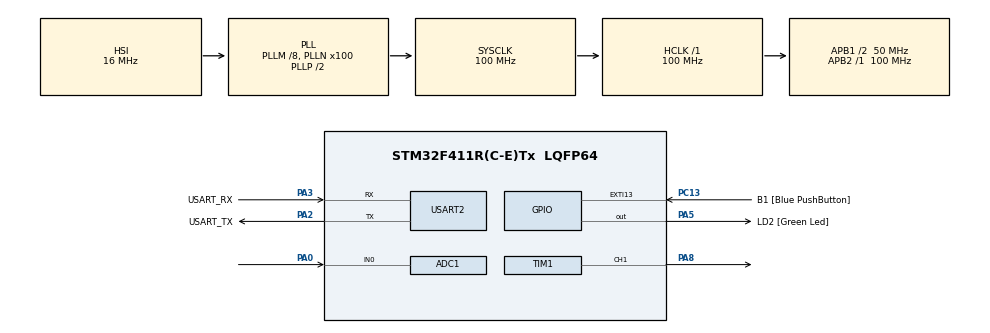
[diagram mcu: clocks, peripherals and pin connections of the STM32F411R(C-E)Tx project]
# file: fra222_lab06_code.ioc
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ADC1.Channel-0\#ChannelRegularConversion=ADC_CHANNEL_0
ADC1.ExternalTrigConv=ADC_EXTERNALTRIGCONV_T3_TRGO
ADC1.NbrOfConversionFlag=1
ADC1.Rank-0\#ChannelRegularConversion=1
ADC1.SamplingTime-0\#ChannelRegularConversion=ADC_SAMPLETIME_15CYCLES
ADC1.master=1
Mcu.Family=STM32F4
Mcu.Name=STM32F411R(C-E)Tx
Mcu.Package=LQFP64
NVIC.ADC_IRQn=true\:0\:0\:false\:false\:true\:true\:true
NVIC.PriorityGroup=NVIC_PRIORITYGROUP_0
NVIC.TIM1_TRG_COM_TIM11_IRQn=true\:0\:0\:false\:false\:true\:true\:true
PA0-WKUP.Signal=ADCx_IN0
PA13.GPIO_Label=TMS
PA13.Mode=Serial_Wire
PA13.Signal=SYS_JTMS-SWDIO
PA14.GPIO_Label=TCK
PA14.Mode=Serial_Wire
PA14.Signal=SYS_JTCK-SWCLK
PA2.GPIO_Label=USART_TX
PA2.Mode=Asynchronous
PA2.Signal=USART2_TX
PA3.GPIO_Label=USART_RX
PA3.Mode=Asynchronous
PA3.Signal=USART2_RX
PA5.GPIO_Label=LD2 [Green Led]
PA5.Signal=GPIO_Output
PA8.Signal=S_TIM1_CH1
PB3.GPIO_Label=SWO
PB3.Signal=SYS_JTDO-SWO
PC13-ANTI_TAMP.GPIO_Label=B1 [Blue PushButton]
PC13-ANTI_TAMP.GPIO_ModeDefaultEXTI=GPIO_MODE_IT_FALLING
PC13-ANTI_TAMP.Signal=GPXTI13
PC14-OSC32_IN.Mode=LSE-External-Oscillator
PC14-OSC32_IN.Signal=RCC_OSC32_IN
PC15-OSC32_OUT.Mode=LSE-External-Oscillator
PC15-OSC32_OUT.Signal=RCC_OSC32_OUT
PH0\ -\ OSC_IN.Mode=HSE-External-Clock-Source
PH0\ -\ OSC_IN.Signal=RCC_OSC_IN
PH1\ -\ OSC_OUT.Mode=HSE-External-Clock-Source
PH1\ -\ OSC_OUT.Signal=RCC_OSC_OUT
ProjectManager.HeapSize=0x200
ProjectManager.StackSize=0x400
ProjectManager.TargetToolchain=STM32CubeIDE
RCC.48MHZClocksFreq_Value=50000000
RCC.AHBFreq_Value=100000000
RCC.APB1CLKDivider=RCC_HCLK_DIV2
RCC.APB1Freq_Value=50000000
RCC.APB1TimFreq_Value=100000000
RCC.APB2Freq_Value=100000000
RCC.APB2TimFreq_Value=100000000
RCC.CortexFreq_Value=100000000
RCC.FLatency-AdvancedSettings=FLASH_LATENCY_3
RCC.HCLKFreq_Value=100000000
RCC.HSE_VALUE=8000000
RCC.HSI_VALUE=16000000
RCC.PLLM=8
RCC.PLLN=100
RCC.SYSCLKFreq_VALUE=100000000
RCC.SYSCLKSource=RCC_SYSCLKSOURCE_PLLCLK
RCC.VCOOutputFreq_Value=200000000
SH.ADCx_IN0.0=ADC1_IN0,IN0
SH.S_TIM1_CH1.0=TIM1_CH1,PWM Generation1 CH1
TIM1.Channel-PWM\ Generation1\ CH1=TIM_CHANNEL_1
TIM1.Period=10000
TIM11.Prescaler=99
TIM3.Period=1000
TIM3.Prescaler=99
TIM3.TIM_MasterOutputTrigger=TIM_TRGO_UPDATE
USART2.VirtualMode=VM_ASYNC
VP_TIM11_VS_ClockSourceINT.Mode=Enable_Timer
VP_TIM1_VS_ClockSourceINT.Mode=Internal
VP_TIM3_VS_ClockSourceINT.Mode=Internal
board=NUCLEO-F411RE

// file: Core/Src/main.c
/* USER CODE BEGIN Header */
/**
 ******************************************************************************
 * @file           : main.c
 * @brief          : Main program body
 ******************************************************************************
 * @attention
 *
 * <h2><center>&copy; Copyright (c) 2021 STMicroelectronics.
 * All rights reserved.</center></h2>
 *
 * This software component is licensed by ST under BSD 3-Clause license,
 * the "License"; You may not use this file except in compliance with the
 * License. You may obtain a copy of the License at:
 *                        opensource.org/licenses/BSD-3-Clause
 *
 ******************************************************************************
 */
/* USER CODE END Header */
#include "main.h"

ADC_HandleTypeDef hadc1;

TIM_HandleTypeDef htim1;
TIM_HandleTypeDef htim3;
TIM_HandleTypeDef htim11;

UART_HandleTypeDef huart2;

/* USER CODE BEGIN PV */

//uint8_t ADCUpdateFlag = 0;

//Store ADC Value
uint16_t ADCFeedBack = 0;

uint16_t PWMOut = 5000;

uint64_t _micro = 0;
uint64_t TimeOutputLoop = 0;

/* USER CODE END PV */

void SystemClock_Config(void);
static void MX_GPIO_Init(void);
static void MX_USART2_UART_Init(void);
static void MX_ADC1_Init(void);
static void MX_TIM1_Init(void);
static void MX_TIM3_Init(void);
static void MX_TIM11_Init(void);
/* USER CODE BEGIN PFP */

uint64_t micros();

/* USER CODE END PFP */

int main(void)
{

  /* MCU Configuration--------------------------------------------------------*/

  /* Reset of all peripherals, Initializes the Flash interface and the Systick. */
  HAL_Init();

  /* Configure the system clock */
  SystemClock_Config();

  /* Initialize all configured peripherals */
  MX_GPIO_Init();
  MX_USART2_UART_Init();
  MX_ADC1_Init();
  MX_TIM1_Init();
  MX_TIM3_Init();
  MX_TIM11_Init();
  /* USER CODE BEGIN 2 */
	//ADC START
	HAL_ADC_Start_IT(&hadc1);
	HAL_TIM_Base_Start(&htim3);
	// start pwm
	HAL_TIM_Base_Start(&htim1);
	HAL_TIM_PWM_Start(&htim1, TIM_CHANNEL_1);
	// start micros
	HAL_TIM_Base_Start_IT(&htim11);

  /* USER CODE END 2 */

  /* Infinite loop */
	while (1)
	{

    /* USER CODE BEGIN 3 */

		//1 Khz Loop
		if (micros() - TimeOutputLoop >= 1000)//uS
		{
			TimeOutputLoop = micros();
			// #001

			PWMOut += (1000 - ADCFeedBack)*10000/3300;

			__HAL_TIM_SET_COMPARE(&htim1, TIM_CHANNEL_1, PWMOut);
			//using compare to set PWM duty cycle = PWMOut / timer_period(which is 10000)
		}

//		if (ADCUpdateFlag)
//		{
//			ADCUpdateFlag = 0;
//			//#002
//		}

	}
  /* USER CODE END 3 */
}

void SystemClock_Config(void)
{
  RCC_OscInitTypeDef RCC_OscInitStruct = {0};
  RCC_ClkInitTypeDef RCC_ClkInitStruct = {0};

  /** Configure the main internal regulator output voltage
  */
  __HAL_RCC_PWR_CLK_ENABLE();
  __HAL_PWR_VOLTAGESCALING_CONFIG(PWR_REGULATOR_VOLTAGE_SCALE1);
  /** Initializes the RCC Oscillators according to the specified parameters
  * in the RCC_OscInitTypeDef structure.
  */
  RCC_OscInitStruct.OscillatorType = RCC_OSCILLATORTYPE_HSI;
  RCC_OscInitStruct.HSIState = RCC_HSI_ON;
  RCC_OscInitStruct.HSICalibrationValue = RCC_HSICALIBRATION_DEFAULT;
  RCC_OscInitStruct.PLL.PLLState = RCC_PLL_ON;
  RCC_OscInitStruct.PLL.PLLSource = RCC_PLLSOURCE_HSI;
  RCC_OscInitStruct.PLL.PLLM = 8;
  RCC_OscInitStruct.PLL.PLLN = 100;
  RCC_OscInitStruct.PLL.PLLP = RCC_PLLP_DIV2;
  RCC_OscInitStruct.PLL.PLLQ = 4;
  if (HAL_RCC_OscConfig(&RCC_OscInitStruct) != HAL_OK)
  {
    Error_Handler();
  }
  /** Initializes the CPU, AHB and APB buses clocks
  */
  RCC_ClkInitStruct.ClockType = RCC_CLOCKTYPE_HCLK|RCC_CLOCKTYPE_SYSCLK
                              |RCC_CLOCKTYPE_PCLK1|RCC_CLOCKTYPE_PCLK2;
  RCC_ClkInitStruct.SYSCLKSource = RCC_SYSCLKSOURCE_PLLCLK;
  RCC_ClkInitStruct.AHBCLKDivider = RCC_SYSCLK_DIV1;
  RCC_ClkInitStruct.APB1CLKDivider = RCC_HCLK_DIV2;
  RCC_ClkInitStruct.APB2CLKDivider = RCC_HCLK_DIV1;

  if (HAL_RCC_ClockConfig(&RCC_ClkInitStruct, FLASH_LATENCY_3) != HAL_OK)
  {
    Error_Handler();
  }
}

static void MX_ADC1_Init(void)
{

  ADC_ChannelConfTypeDef sConfig = {0};

  /** Configure the global features of the ADC (Clock, Resolution, Data Alignment and number of conversion)
  */
  hadc1.Instance = ADC1;
  hadc1.Init.ClockPrescaler = ADC_CLOCK_SYNC_PCLK_DIV4;
  hadc1.Init.Resolution = ADC_RESOLUTION_12B;
  hadc1.Init.ScanConvMode = DISABLE;
  hadc1.Init.ContinuousConvMode = DISABLE;
  hadc1.Init.DiscontinuousConvMode = DISABLE;
  hadc1.Init.ExternalTrigConvEdge = ADC_EXTERNALTRIGCONVEDGE_RISING;
  hadc1.Init.ExternalTrigConv = ADC_EXTERNALTRIGCONV_T3_TRGO;
  hadc1.Init.DataAlign = ADC_DATAALIGN_RIGHT;
  hadc1.Init.NbrOfConversion = 1;
  hadc1.Init.DMAContinuousRequests = DISABLE;
  hadc1.Init.EOCSelection = ADC_EOC_SINGLE_CONV;
  if (HAL_ADC_Init(&hadc1) != HAL_OK)
  {
    Error_Handler();
  }
  /** Configure for the selected ADC regular channel its corresponding rank in the sequencer and its sample time.
  */
  sConfig.Channel = ADC_CHANNEL_0;
  sConfig.Rank = 1;
  sConfig.SamplingTime = ADC_SAMPLETIME_15CYCLES;
  if (HAL_ADC_ConfigChannel(&hadc1, &sConfig) != HAL_OK)
  {
    Error_Handler();
  }

}

static void MX_TIM1_Init(void)
{

  TIM_ClockConfigTypeDef sClockSourceConfig = {0};
  TIM_MasterConfigTypeDef sMasterConfig = {0};
  TIM_OC_InitTypeDef sConfigOC = {0};
  TIM_BreakDeadTimeConfigTypeDef sBreakDeadTimeConfig = {0};

  htim1.Instance = TIM1;
  htim1.Init.Prescaler = 0;
  htim1.Init.CounterMode = TIM_COUNTERMODE_UP;
  htim1.Init.Period = 10000;
  htim1.Init.ClockDivision = TIM_CLOCKDIVISION_DIV1;
  htim1.Init.RepetitionCounter = 0;
  htim1.Init.AutoReloadPreload = TIM_AUTORELOAD_PRELOAD_DISABLE;
  if (HAL_TIM_Base_Init(&htim1) != HAL_OK)
  {
    Error_Handler();
  }
  sClockSourceConfig.ClockSource = TIM_CLOCKSOURCE_INTERNAL;
  if (HAL_TIM_ConfigClockSource(&htim1, &sClockSourceConfig) != HAL_OK)
  {
    Error_Handler();
  }
  if (HAL_TIM_PWM_Init(&htim1) != HAL_OK)
  {
    Error_Handler();
  }
  sMasterConfig.MasterOutputTrigger = TIM_TRGO_RESET;
  sMasterConfig.MasterSlaveMode = TIM_MASTERSLAVEMODE_DISABLE;
  if (HAL_TIMEx_MasterConfigSynchronization(&htim1, &sMasterConfig) != HAL_OK)
  {
    Error_Handler();
  }
  sConfigOC.OCMode = TIM_OCMODE_PWM1;
  sConfigOC.Pulse = 0;
  sConfigOC.OCPolarity = TIM_OCPOLARITY_HIGH;
  sConfigOC.OCNPolarity = TIM_OCNPOLARITY_HIGH;
  sConfigOC.OCFastMode = TIM_OCFAST_DISABLE;
  sConfigOC.OCIdleState = TIM_OCIDLESTATE_RESET;
  sConfigOC.OCNIdleState = TIM_OCNIDLESTATE_RESET;
  if (HAL_TIM_PWM_ConfigChannel(&htim1, &sConfigOC, TIM_CHANNEL_1) != HAL_OK)
  {
    Error_Handler();
  }
  sBreakDeadTimeConfig.OffStateRunMode = TIM_OSSR_DISABLE;
  sBreakDeadTimeConfig.OffStateIDLEMode = TIM_OSSI_DISABLE;
  sBreakDeadTimeConfig.LockLevel = TIM_LOCKLEVEL_OFF;
  sBreakDeadTimeConfig.DeadTime = 0;
  sBreakDeadTimeConfig.BreakState = TIM_BREAK_DISABLE;
  sBreakDeadTimeConfig.BreakPolarity = TIM_BREAKPOLARITY_HIGH;
  sBreakDeadTimeConfig.AutomaticOutput = TIM_AUTOMATICOUTPUT_DISABLE;
  if (HAL_TIMEx_ConfigBreakDeadTime(&htim1, &sBreakDeadTimeConfig) != HAL_OK)
  {
    Error_Handler();
  }
  HAL_TIM_MspPostInit(&htim1);

}

static void MX_TIM3_Init(void)
{

  TIM_ClockConfigTypeDef sClockSourceConfig = {0};
  TIM_MasterConfigTypeDef sMasterConfig = {0};

  htim3.Instance = TIM3;
  htim3.Init.Prescaler = 99;
  htim3.Init.CounterMode = TIM_COUNTERMODE_UP;
  htim3.Init.Period = 1000;
  htim3.Init.ClockDivision = TIM_CLOCKDIVISION_DIV1;
  htim3.Init.AutoReloadPreload = TIM_AUTORELOAD_PRELOAD_DISABLE;
  if (HAL_TIM_Base_Init(&htim3) != HAL_OK)
  {
    Error_Handler();
  }
  sClockSourceConfig.ClockSource = TIM_CLOCKSOURCE_INTERNAL;
  if (HAL_TIM_ConfigClockSource(&htim3, &sClockSourceConfig) != HAL_OK)
  {
    Error_Handler();
  }
  sMasterConfig.MasterOutputTrigger = TIM_TRGO_UPDATE;
  sMasterConfig.MasterSlaveMode = TIM_MASTERSLAVEMODE_DISABLE;
  if (HAL_TIMEx_MasterConfigSynchronization(&htim3, &sMasterConfig) != HAL_OK)
  {
    Error_Handler();
  }

}

static void MX_TIM11_Init(void)
{

  htim11.Instance = TIM11;
  htim11.Init.Prescaler = 99;
  htim11.Init.CounterMode = TIM_COUNTERMODE_UP;
  htim11.Init.Period = 65535;
  htim11.Init.ClockDivision = TIM_CLOCKDIVISION_DIV1;
  htim11.Init.AutoReloadPreload = TIM_AUTORELOAD_PRELOAD_DISABLE;
  if (HAL_TIM_Base_Init(&htim11) != HAL_OK)
  {
    Error_Handler();
  }

}

static void MX_USART2_UART_Init(void)
{

  huart2.Instance = USART2;
  huart2.Init.BaudRate = 115200;
  huart2.Init.WordLength = UART_WORDLENGTH_8B;
  huart2.Init.StopBits = UART_STOPBITS_1;
  huart2.Init.Parity = UART_PARITY_NONE;
  huart2.Init.Mode = UART_MODE_TX_RX;
  huart2.Init.HwFlowCtl = UART_HWCONTROL_NONE;
  huart2.Init.OverSampling = UART_OVERSAMPLING_16;
  if (HAL_UART_Init(&huart2) != HAL_OK)
  {
    Error_Handler();
  }

}

static void MX_GPIO_Init(void)
{
  GPIO_InitTypeDef GPIO_InitStruct = {0};

  /* GPIO Ports Clock Enable */
  __HAL_RCC_GPIOC_CLK_ENABLE();
  __HAL_RCC_GPIOH_CLK_ENABLE();
  __HAL_RCC_GPIOA_CLK_ENABLE();
  __HAL_RCC_GPIOB_CLK_ENABLE();

  /*Configure GPIO pin Output Level */
  HAL_GPIO_WritePin(LD2_GPIO_Port, LD2_Pin, GPIO_PIN_RESET);

  /*Configure GPIO pin : B1_Pin */
  GPIO_InitStruct.Pin = B1_Pin;
  GPIO_InitStruct.Mode = GPIO_MODE_IT_FALLING;
  GPIO_InitStruct.Pull = GPIO_NOPULL;
  HAL_GPIO_Init(B1_GPIO_Port, &GPIO_InitStruct);

  /*Configure GPIO pin : LD2_Pin */
  GPIO_InitStruct.Pin = LD2_Pin;
  GPIO_InitStruct.Mode = GPIO_MODE_OUTPUT_PP;
  GPIO_InitStruct.Pull = GPIO_NOPULL;
  GPIO_InitStruct.Speed = GPIO_SPEED_FREQ_LOW;
  HAL_GPIO_Init(LD2_GPIO_Port, &GPIO_InitStruct);

}

/* USER CODE BEGIN 4 */

void HAL_ADC_ConvCpltCallback(ADC_HandleTypeDef *hadc)
{
	ADCFeedBack = 3300 / 4096.0 * HAL_ADC_GetValue(&hadc1);
	//read ADC and turn from Bits to mV

//	ADCUpdateFlag = 1;
}
void HAL_TIM_PeriodElapsedCallback(TIM_HandleTypeDef *htim)
{
	if (htim == &htim11)
	{
		_micro += 65535;
	}
}

__inline__ uint64_t micros()
{
	return _micro + htim11.Instance->CNT;
}
/* USER CODE END 4 */

void Error_Handler(void)
{
	__disable_irq();
	while (1)
	{
	}
}

/************************ (C) COPYRIGHT STMicroelectronics *****END OF FILE****/
